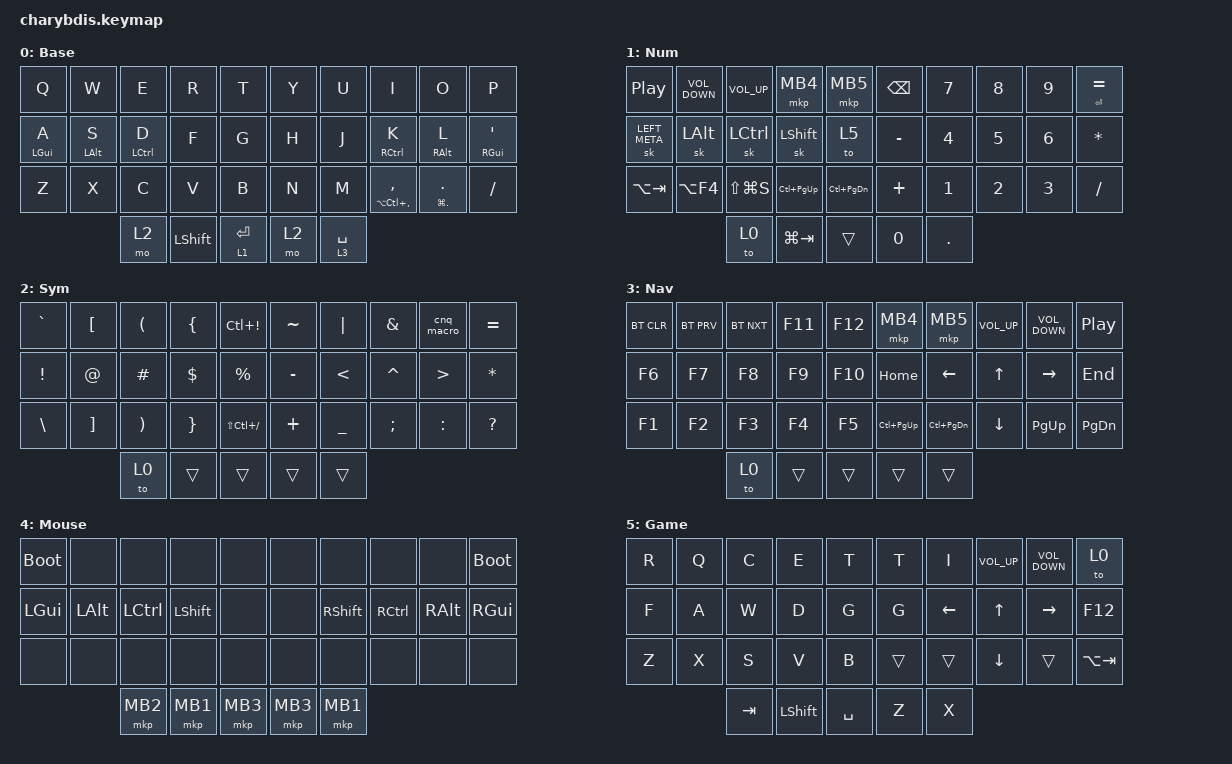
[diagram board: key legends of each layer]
#include <behaviors.dtsi>
#include <dt-bindings/zmk/bt.h>
#include <dt-bindings/zmk/keys.h>
#include <dt-bindings/zmk/mouse.h>
#include <dt-bindings/zmk/outputs.h>
#include <dt-bindings/zmk/ext_power.h>
#include <dt-bindings/zmk/input_transform.h>

#define Base 0
#define Num 1
#define Sym 2
#define Nav 3
#define Mouse 4
#define Game 5

&mt {
    //  flavor = "tap-preferred";
    // tapping_term_ms = <200>;

    flavor = "balanced";
    tapping-term-ms = <170>;
};

&sk {
    quick-release;

    // ignore-modifiers;
};

&sl { release-after-ms = <1500>; };

/ {
    trackball_listener {
        compatible = "zmk,input-listener";
        device = <&vtrackball>;

        snipe {
            layers = <Mouse>;
            input-processors = <&xy_scaler 1 3>;
        };

        scroll {
            layers = <Nav>;
            input-processors = <&xy_invert (INPUT_TRANSFORM_Y_INVERT)>, <&xy_scaler 1 3>, <&x_scaler 0 1>, <&mouse_to_wheel_mapper>;
        };
    };

    xy_scaler: xy_scaler {
        compatible = "zmk,input-processor-scaler";
        #input-processor-cells = <2>;
        type = <INPUT_EV_REL>;
        codes = <INPUT_REL_X>, <INPUT_REL_Y>;
    };

    x_scaler: x_scaler {
        compatible = "zmk,input-processor-scaler";
        #input-processor-cells = <2>;
        type = <INPUT_EV_REL>;
        codes = <INPUT_REL_X>;
    };

    y_scaler: y_scaler {
        compatible = "zmk,input-processor-scaler";
        #input-processor-cells = <2>;
        type = <INPUT_EV_REL>;
        codes = <INPUT_REL_Y>;
    };

    xy_invert: xy_invert {
        compatible = "zmk,input-processor-transform";
        #input-processor-cells = <1>;
        type = <INPUT_EV_REL>;
        x-codes = <INPUT_REL_X>, <INPUT_REL_WHEEL>;
        y-codes = <INPUT_REL_Y>, <INPUT_REL_HWHEEL>;
    };

    mouse_to_wheel_mapper: mouse_to_wheel_mapper {
        compatible = "zmk,input-processor-code-mapper";
        #input-processor-cells = <0>;
        type = <INPUT_EV_REL>;
        map = <INPUT_REL_X INPUT_REL_MISC>, <INPUT_REL_Y INPUT_REL_WHEEL>;
    };

    combos {
        compatible = "zmk,combos";

        combo_esc {
            timeout-ms = <50>;
            key-positions = <1 0>;
            bindings = <&kp ESC>;
        };

        combo_tab {
            timeout-ms = <50>;
            key-positions = <21 22>;
            bindings = <&kp TAB>;
        };

        combo_return {
            timeout-ms = <50>;
            key-positions = <27 28>;
            bindings = <&kp RETURN>;
        };

        combo_manager {
            timeout-ms = <50>;
            key-positions = <0 2>;
            bindings = <&kp LS(LC(ESCAPE))>;
        };

        combo_highlight {
            timeout-ms = <50>;
            key-positions = <16 19>;
            bindings = <&highlight_macro>;
        };

        combo_toggle1 {
            bindings = <&tog 1>;
            key-positions = <30 31>;
            layers = <0 1 2 3>;
        };

        combo_toggle3 {
            bindings = <&tog 3>;
            key-positions = <32 33>;
            layers = <0 1 2 3>;
        };

        combo_backspace_1 {
            bindings = <&kp BACKSPACE>;
            key-positions = <11 12>;
            timeout-ms = <30>;
            layers = <0 1 2 3>;
        };

        combo_delete_2 {
            bindings = <&kp DELETE>;
            key-positions = <12 13>;
            timeout-ms = <30>;
            layers = <0 1 2 3>;
        };

        combo_backspace_2 {
            bindings = <&kp BACKSPACE>;
            key-positions = <16 17>;
            layers = <0 1 2 3>;
            timeout-ms = <30>;
        };

        combo_delete_1 {
            bindings = <&kp DELETE>;
            key-positions = <17 18>;
            layers = <0 1 2 3>;
            timeout-ms = <30>;
        };

        combo_copy {
            bindings = <&kp LC(C)>;
            key-positions = <22 23>;
            layers = <0 1 2 3>;
        };
    };

    macros {
        cnq_macro: cnq_macro {
            compatible = "zmk,behavior-macro";
            #binding-cells = <0>;
            bindings = <&kp GRAVE &kp LBKT &kp GRAVE &kp RIGHT_BRACKET &kp LEFT_ARROW &kp LEFT_ARROW &kp DOWN_ARROW &kp DOWN_ARROW>;
            label = "CNQ_MACRO";
        };

        highlight_macro: highlight_macro {
            compatible = "zmk,behavior-macro";
            #binding-cells = <0>;
            bindings = <&kp HOME &kp LS(END)>;
            label = "HIGHLIGHT_MACRO";
        };
    };

    behaviors {
        holdtap_comma: holdtap_comma {
            compatible = "zmk,behavior-hold-tap";
            label = "HOLDTAP_COMMA";
            bindings = <&kp>, <&kp>;

            #binding-cells = <2>;
            tapping-term-ms = <200>;
            hold-trigger-key-positions = <29>;
            flavor = "hold-preferred";
        };

        holdtap_period: holdtap_period {
            compatible = "zmk,behavior-hold-tap";
            label = "HOLDTAP_PERIOD";
            bindings = <&kp>, <&kp>;

            #binding-cells = <2>;
            tapping-term-ms = <200>;
            hold-trigger-key-positions = <30>;
        };

        holdtap_equal_enter: holdtap_equal_enter {
            compatible = "zmk,behavior-hold-tap";
            label = "HOLDTAP_EQUAL_ENTER";
            bindings = <&kp>, <&kp>;

            #binding-cells = <2>;
            tapping-term-ms = <200>;
            hold-trigger-key-positions = <21>;
        };
    };

    keymap {
        compatible = "zmk,keymap";

        Base {
            bindings = <
                &kp Q           &kp W           &kp E               &kp R           &kp T        &kp Y  &kp U        &kp I                               &kp O                              &kp P
                &mt LEFT_GUI A  &mt LEFT_ALT S  &mt LEFT_CONTROL D  &kp F           &kp G        &kp H  &kp J        &mt RIGHT_CONTROL K                 &mt RIGHT_ALT L                    &mt RIGHT_GUI SQT
                &kp Z           &kp X           &kp C               &kp V           &kp B        &kp N  &kp M        &holdtap_comma LA(LC(COMMA)) COMMA  &holdtap_period LG(PERIOD) PERIOD  &kp FSLH
                                                &mo 2               &kp LEFT_SHIFT  &lt 1 ENTER  &mo 2  &lt 3 SPACE
            >;
        };

        Num {
            bindings = <
                &kp C_PLAY_PAUSE  &kp C_VOLUME_DOWN  &kp C_VOLUME_UP   &mkp MB4         &mkp MB5           &kp BACKSPACE  &kp NUMBER_7  &kp NUMBER_8  &kp NUMBER_9  &holdtap_equal_enter ENTER EQUAL
                &sk LEFT_META     &sk LEFT_ALT       &sk LEFT_CONTROL  &sk LEFT_SHIFT   &to 5              &kp MINUS      &kp NUMBER_4  &kp NUMBER_5  &kp NUMBER_6  &kp ASTERISK
                &kp LA(TAB)       &kp LA(F4)         &kp LS(LG(S))     &kp LC(PAGE_UP)  &kp LC(PAGE_DOWN)  &kp PLUS       &kp NUMBER_1  &kp NUMBER_2  &kp NUMBER_3  &kp FSLH
                                                     &to 0             &kp LG(TAB)      &trans              &kp NUMBER_0  &kp DOT
            >;
        };

        Sym {
            bindings = <
                &kp GRAVE        &kp LEFT_BRACKET   &kp LEFT_PARENTHESIS   &kp LEFT_BRACE   &kp LC(EXCLAMATION)  &kp TILDE  &kp PIPE        &kp AMPERSAND  &cnq_macro        &kp EQUAL
                &kp EXCLAMATION  &kp AT_SIGN        &kp HASH               &kp DOLLAR       &kp PERCENT          &kp MINUS  &kp LESS_THAN   &kp CARET      &kp GREATER_THAN  &kp ASTERISK
                &kp BACKSLASH    &kp RIGHT_BRACKET  &kp RIGHT_PARENTHESIS  &kp RIGHT_BRACE  &kp LS(LC(SLASH))    &kp PLUS   &kp UNDERSCORE  &kp SEMICOLON  &kp COLON         &kp QUESTION
                                                    &to 0                  &trans           &trans               &trans     &trans
            >;
        };

        Nav {
            bindings = <
                &bt BT_CLR  &bt BT_PRV  &bt BT_NXT  &kp F11  &kp F12  &mkp MB4         &mkp MB5           &kp C_VOLUME_UP  &kp C_VOLUME_DOWN  &kp C_PLAY_PAUSE
                &kp F6      &kp F7      &kp F8      &kp F9   &kp F10  &kp HOME         &kp LEFT           &kp UP           &kp RIGHT          &kp END
                &kp F1      &kp F2      &kp F3      &kp F4   &kp F5   &kp LC(PAGE_UP)  &kp LC(PAGE_DOWN)  &kp DOWN         &kp PAGE_UP        &kp PAGE_DOWN
                                        &to 0       &trans   &trans   &trans           &trans
            >;
        };

        Mouse {
            bindings = <
                &bootloader &none       &none       &none       &none     &none     &none       &none      &none       &bootloader
                &kp LGUI    &kp LALT    &kp LCTRL   &kp LSHIFT  &none     &none     &kp RSHIFT  &kp RCTRL  &kp RALT    &kp RGUI
                &none       &none       &none       &none       &none     &none     &none       &none      &none       &none
                                        &mkp MB2    &mkp MB1    &mkp MB3  &mkp MB3  &mkp MB1
            >;
        };

        Game {
            bindings = <
                &kp R  &kp Q  &kp C    &kp E           &kp T      &kp T   &kp I     &kp C_VOLUME_UP  &kp C_VOLUME_DOWN  &to 0
                &kp F  &kp A  &kp W    &kp D           &kp G      &kp G   &kp LEFT  &kp UP           &kp RIGHT          &kp F12
                &kp Z  &kp X  &kp S    &kp V           &kp B      &trans  &trans    &kp DOWN         &trans             &kp LA(TAB)
                              &kp TAB  &kp LEFT_SHIFT  &kp SPACE  &kp Z   &kp X
            >;
        };
    };
};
